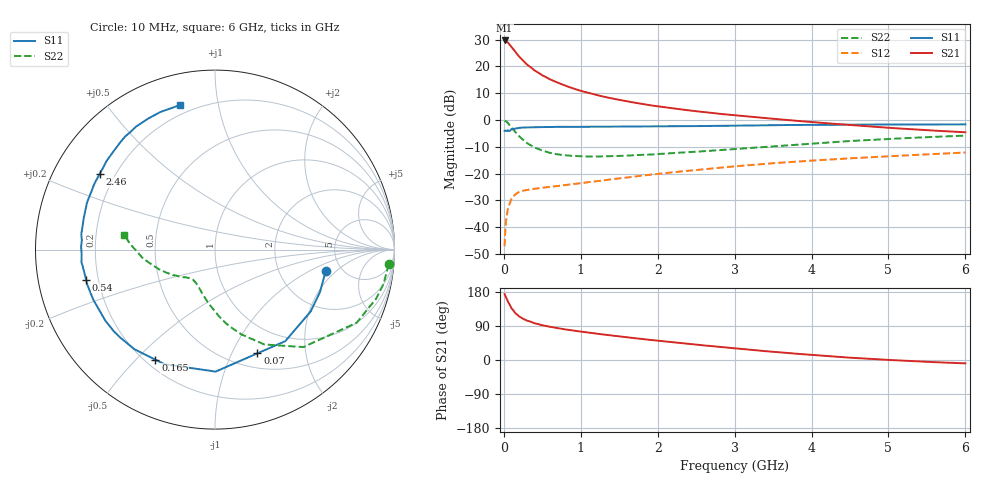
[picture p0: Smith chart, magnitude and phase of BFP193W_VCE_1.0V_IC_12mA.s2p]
! Infineon Technologies  Discrete & RF Semiconductors
! BFP193W
! VCE = 1.0 V,  IC =  12 mA
! Common Emitter S-Parameters:  Jan 2016
# GHz  S  MA  R  50
!  f  S11  S21  S12  S22
! GHz  MAG  ANG  MAG  ANG  MAG  ANG  MAG  ANG
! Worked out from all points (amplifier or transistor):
!   210 points, 10 MHz to 6 GHz, reference 50 ohm
!   highest |S21| = 29.7 dB at 10 MHz (marker M1)
!   |S21| within 3 dB of that: start of sweep to 116.4 MHz
!   unconditionally stable (mu >= 1): 1.13 GHz to 5.783 GHz
!   at 185 MHz: K = 0.25, MSG = 25.7 dB, |S12| = -27.1 dB
!   at 1.52 GHz: K = 1.12, MAG = 12.5 dB, |S12| = -21.8 dB
!   at 6 GHz: K = 0.99, MSG = 3.8 dB, |S12| = -12.1 dB
!   S11 on the Smith chart (normalised r, x): 10 MHz: 3.75, -1.49; 70 MHz: 0.66, -1.26; 165 MHz: 0.24, -0.57; 540 MHz: 0.15, -0.11; 2.46 GHz: 0.14, +0.29; 6 GHz: 0.15, +0.78
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0.01  0.6283 -11.0  30.59 174.0  0.0044 83.8  0.971 -4.9
0.02  0.631 -22.1  30.42 169.6  0.0092 79.7  0.9584 -11.5
0.03  0.6348 -32.9  29.96 164.6  0.0133 75.8  0.9386 -16.9
0.05  0.6431 -52.5  28.34 154.9  0.0208 67.8  0.8884 -27.3
0.07  0.6244 -67.8  25.99 148.3  0.0258 59.7  0.8142 -34.5
0.1  0.6797 -89.7  23.25 136.3  0.0338 52.2  0.733 -47.8
0.15  0.6978 -113.8  18.71 123.3  0.0411 42.3  0.596 -62.5
0.165  0.6974 -118.4  17.63 121.1  0.0423 40.7  0.564 -65.2
0.2  0.714 -129.0  15.23 114.8  0.0453 37.3  0.495 -72.7
0.24  0.7207 -137.4  13.27 110.0  0.0473 34.6  0.4385 -78.8
0.3  0.7281 -147.0  10.88 104.0  0.0494 32.1  0.3712 -86.7
0.4  0.7333 -157.6  8.421 96.9  0.0519 30.7  0.306 -96.2
0.54  0.7375 -166.9  6.398 90.1  0.0551 31.5  0.2579 -105.5
0.8  0.7434 -178.1  4.359 80.7  0.061 34.7  0.2189 -116.8
1.02  0.7447 175.5  3.442 74.5  0.0665 37.5  0.2098 -123.4
1.4  0.752 166.5  2.537 64.7  0.078 41.7  0.2117 -130.3
2.02  0.7615 154.4  1.788 50.6  0.0992 45.4  0.2322 -138.4
2.46  0.7683 146.7  1.481 41.4  0.1152 45.9  0.254 -144.3
3.1  0.7868 136.1  1.186 29.1  0.14 44.7  0.2926 -153.3
4.1  0.8144 121.7  0.893 12.2  0.1779 40.1  0.3692 -167.9
5.1  0.8245 110.8  0.7 -0.8  0.2137 34.7  0.4499 179.4
6  0.8288 103.5  0.59 -8.9  0.2469 29.8  0.5106 171.0
